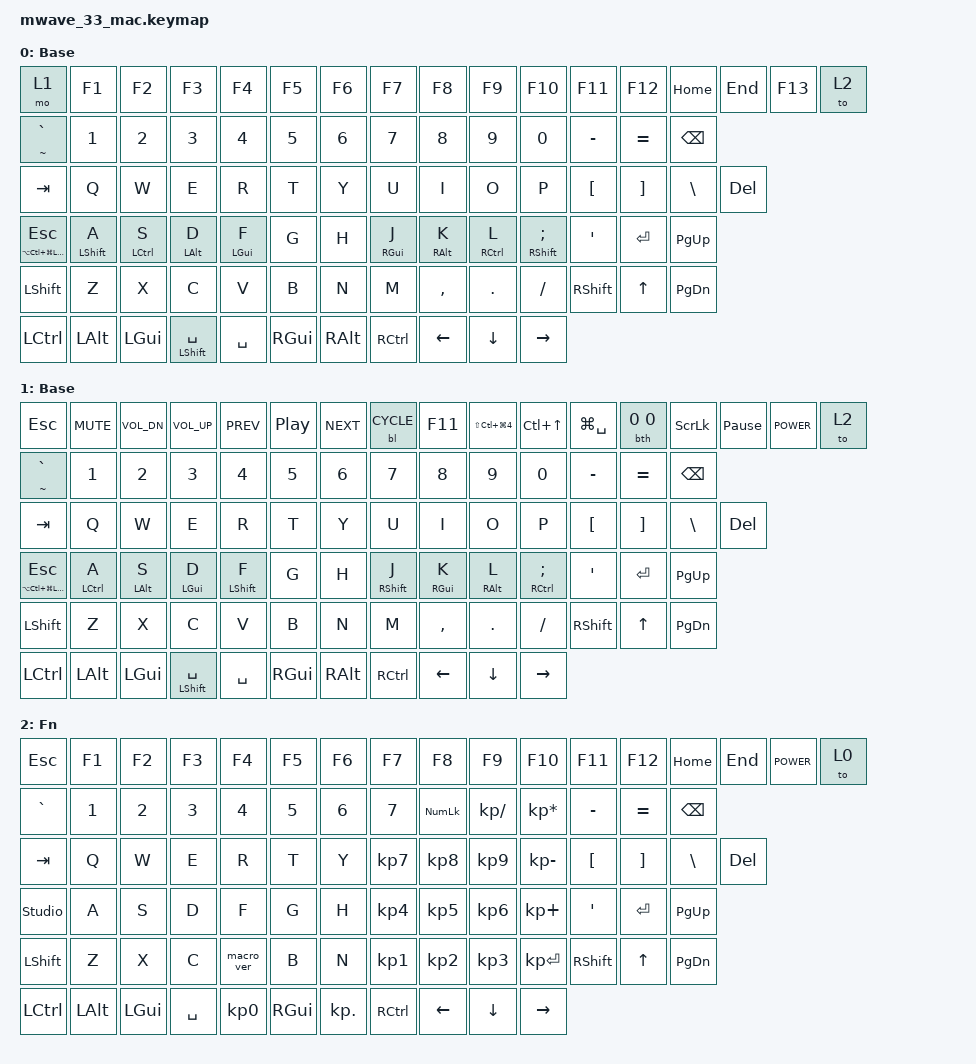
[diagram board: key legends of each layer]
#include <dt-bindings/advertising_mode.h>
#include <behaviors/advertising_mode.dtsi>
#include <behaviors/stp_indicators.dtsi>
#include <behaviors.dtsi>
#include <dt-bindings/zmk/backlight.h>
#include <dt-bindings/zmk/keys.h>
#include "studio-macros.dtsi"

/ {
    #include "mwave_prim.dtsi"

    behaviors {
        hml: hml {
            compatible = "zmk,behavior-hold-tap";
            label = "HML";
            bindings = <&kp>, <&kp>;

            #binding-cells = <2>;
            tapping-term-ms = <280>;
            quick-tap-ms = <175>;
            require-prior-idle-ms = <135>;
            flavor = "balanced";
            hold-trigger-on-release;
            hold-trigger-key-positions = <47 48 49 50>;
        };

        hmr: hmr {
            compatible = "zmk,behavior-hold-tap";
            label = "HMR";
            bindings = <&kp>, <&kp>;

            #binding-cells = <2>;
            tapping-term-ms = <280>;
            quick-tap-ms = <175>;
            require-prior-idle-ms = <135>;
            flavor = "balanced";
            hold-trigger-on-release;
            hold-trigger-key-positions = <53 54 55 56>;
        };
    };

    keymap {
        compatible = "zmk,keymap";

        default_layer {
            display-name = "Base";

            // -------------------------------------------------------------------------------------------------------
            // | ESC | F1  | F2  | F3  | F4  | F5  | F6  | | F7  | F8  | F9  | F10 | F11 | F12 |HOME| END |PSCN|  1  |
            // |GRAVE|  1  |  2  |  3  |  4  |  5  |  6  | |   7   |  8  |  9  |  0  |  -  |  =  |    BKSP     | DEL |
            // | TAB    |  Q  |  W  |  E  |  R  |   T    | |   Y  |  U  |  I  |  O  |  P  |  [  |  ]  |   \    |     |
            // | CAPS     |  A  |  S  |  D  |  F  |  G   | |  H    |  J  |  K  |  L  |  ;  |  '  |    ENTER    | PGUP|
            // |   SHIFT   |  Z  |  X  |  C  |  V  |  B  | |    N    |  M  |  ,  |  .  |  /  |   SHIFT   | UP  | PGDN|
            // |  CTL  |  WIN  |  ALT  |      SPACE      | |      SPACE        | ALT | MENU |RCTRL| LEFT| DOWN |RIGHT|
            // -------------------------------------------------------------------------------------------------------

            bindings = <
&mo 1                              &kp F1             &kp F2        &kp F3                &kp F4           &kp F5         &kp F6         &kp F7            &kp F8            &kp F9        &kp F10                     &kp F11           &kp F12    &kp HOME       &kp END  &kp F13  &to 2
&mt TILDE GRAVE                    &kp NUMBER_1       &kp NUMBER_2  &kp NUMBER_3          &kp NUMBER_4     &kp N5         &kp NUMBER_6   &kp N7            &kp N8            &kp N9        &kp N0                      &kp MINUS         &kp EQUAL  &kp BSPC
&kp TAB                            &kp Q              &kp W         &kp E                 &kp R            &kp T          &kp Y          &kp U             &kp I             &kp O         &kp P                       &kp LBKT          &kp RBKT   &kp BACKSLASH  &kp DEL
&mt LA(LC(LG(LEFT_SHIFT))) ESCAPE  &hml LEFT_SHIFT A  &hml LCTRL S  &hml LEFT_ALT D       &hml LEFT_GUI F  &kp G          &kp H          &hmr RIGHT_GUI J  &hmr RIGHT_ALT K  &hmr RCTRL L  &hmr RIGHT_SHIFT SEMICOLON  &kp SINGLE_QUOTE  &kp RET    &kp PG_UP
&kp LSHFT                          &kp Z              &kp X         &kp C                 &kp V            &kp B          &kp N          &kp M             &kp COMMA         &kp PERIOD    &kp SLASH                   &kp RSHFT         &kp UP     &kp PG_DN
&kp LCTRL                          &kp LEFT_ALT       &kp LEFT_GUI  &mt LEFT_SHIFT SPACE  &kp SPACE        &kp RIGHT_GUI  &kp RIGHT_ALT  &kp RCTRL         &kp LEFT          &kp DOWN      &kp RIGHT
            >;
        };

        layer_8 {
            display-name = "Base";
            bindings = <
&kp ESC                            &kp C_MUTE    &kp C_VOL_DN     &kp C_VOL_UP          &kp C_PREV         &kp C_PP       &kp C_NEXT     &bl BL_CYCLE        &kp F11           &kp LS(LC(LG(NUMBER_4)))  &kp LC(UP_ARROW)      &kp LG(SPACE)     &bth 0 0   &kp SCROLLLOCK  &kp PAUSE_BREAK  &kp K_POWER  &to 2
&mt TILDE GRAVE                    &kp NUMBER_1  &kp NUMBER_2     &kp NUMBER_3          &kp NUMBER_4       &kp N5         &kp NUMBER_6   &kp N7              &kp N8            &kp N9                    &kp N0                &kp MINUS         &kp EQUAL  &kp BSPC
&kp TAB                            &kp Q         &kp W            &kp E                 &kp R              &kp T          &kp Y          &kp U               &kp I             &kp O                     &kp P                 &kp LBKT          &kp RBKT   &kp BACKSLASH   &kp DEL
&mt LA(LC(LG(LEFT_SHIFT))) ESCAPE  &hml LCTRL A  &hml LEFT_ALT S  &hml LEFT_GUI D       &hml LEFT_SHIFT F  &kp G          &kp H          &hmr RIGHT_SHIFT J  &hmr RIGHT_GUI K  &hmr RIGHT_ALT L          &hmr RCTRL SEMICOLON  &kp SINGLE_QUOTE  &kp RET    &kp PG_UP
&kp LSHFT                          &kp Z         &kp X            &kp C                 &kp V              &kp B          &kp N          &kp M               &kp COMMA         &kp PERIOD                &kp SLASH             &kp RSHFT         &kp UP     &kp PG_DN
&kp LCTRL                          &kp LEFT_ALT  &kp LEFT_GUI     &mt LEFT_SHIFT SPACE  &kp SPACE          &kp RIGHT_GUI  &kp RIGHT_ALT  &kp RCTRL           &kp LEFT          &kp DOWN                  &kp RIGHT
            >;
        };

        raise {
            display-name = "Fn";
            bindings = <
&kp ESCAPE      &kp F1        &kp F2        &kp F3     &kp F4      &kp F5         &kp F6      &kp F7     &kp F8       &kp F9         &kp F10          &kp F11          &kp F12    &kp HOME       &kp END     &kp K_POWER  &to 0
&kp GRAVE       &kp N1        &kp N2        &kp N3     &kp N4      &kp N5         &kp N6      &kp N7     &kp KP_NLCK  &kp KP_DIVIDE  &kp KP_MULTIPLY  &kp MINUS        &kp EQUAL  &kp BACKSPACE
&kp TAB         &kp Q         &kp W         &kp E      &kp R       &kp T          &kp Y       &kp KP_N7  &kp KP_N8    &kp KP_N9      &kp KP_MINUS     &kp LBKT         &kp RBKT   &kp BSLH       &kp DELETE
&studio_unlock  &kp A         &kp S         &kp D      &kp F       &kp G          &kp H       &kp KP_N4  &kp KP_N5    &kp KP_N6      &kp KP_PLUS      &kp SQT          &kp ENTER  &kp PAGE_UP
&kp LEFT_SHIFT  &kp Z         &kp X         &kp C      &macro_ver  &kp B          &kp N       &kp KP_N1  &kp KP_N2    &kp KP_N3      &kp KP_ENTER     &kp RIGHT_SHIFT  &kp UP     &kp PAGE_DOWN
&kp LCTRL       &kp LEFT_ALT  &kp LEFT_GUI  &kp SPACE  &kp KP_N0   &kp RIGHT_GUI  &kp KP_DOT  &kp RCTRL  &kp LEFT     &kp DOWN       &kp RIGHT
            >;
        };

        extra1 {
            display-name = "Blue";
            status = "reserved";
        };

        extra2 {
            display-name = "Green";
            status = "reserved";
        };

        extra3 {
            display-name = "Red";
            status = "reserved";
        };

        extra4 {
            display-name = "Purple";
            status = "reserved";
        };

        extra5 {
            display-name = "Cyan";
            status = "reserved";
        };

        extra6 {
            display-name = "Yellow";
            status = "reserved";
        };
    };
};
